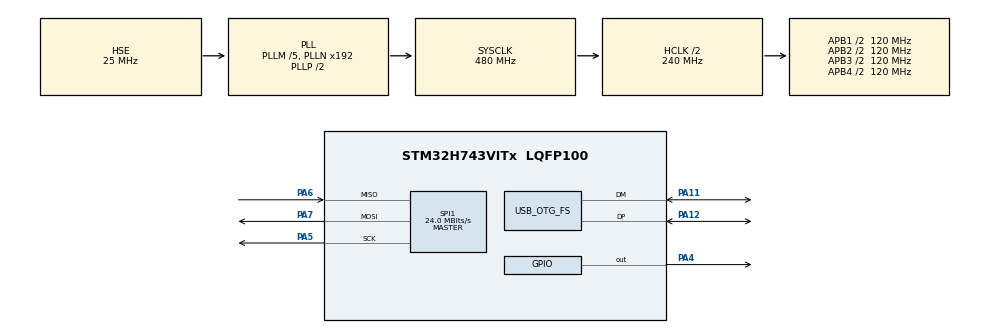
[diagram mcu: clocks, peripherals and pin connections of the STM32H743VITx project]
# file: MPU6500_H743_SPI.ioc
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CORTEX_M7.default_mode_Activation=1
Mcu.Family=STM32H7
Mcu.Name=STM32H743VITx
Mcu.Package=LQFP100
NVIC.OTG_FS_IRQn=true\:0\:0\:false\:false\:true\:false\:true\:true
NVIC.PriorityGroup=NVIC_PRIORITYGROUP_4
PA11.Mode=Device_Only
PA11.Signal=USB_OTG_FS_DM
PA12.Mode=Device_Only
PA12.Signal=USB_OTG_FS_DP
PA13\ (JTMS/SWDIO).Mode=Serial_Wire
PA13\ (JTMS/SWDIO).Signal=DEBUG_JTMS-SWDIO
PA14\ (JTCK/SWCLK).Mode=Serial_Wire
PA14\ (JTCK/SWCLK).Signal=DEBUG_JTCK-SWCLK
PA4.PinState=GPIO_PIN_SET
PA4.Signal=GPIO_Output
PA5.Mode=Full_Duplex_Master
PA5.Signal=SPI1_SCK
PA6.Mode=Full_Duplex_Master
PA6.Signal=SPI1_MISO
PA7.Mode=Full_Duplex_Master
PA7.Signal=SPI1_MOSI
PH0-OSC_IN\ (PH0).Mode=HSE-External-Oscillator
PH0-OSC_IN\ (PH0).Signal=RCC_OSC_IN
PH1-OSC_OUT\ (PH1).Mode=HSE-External-Oscillator
PH1-OSC_OUT\ (PH1).Signal=RCC_OSC_OUT
ProjectManager.HeapSize=0x2000
ProjectManager.StackSize=0x4000
ProjectManager.TargetToolchain=STM32CubeIDE
RCC.ADCFreq_Value=50390625
RCC.APB1Freq_Value=120000000
RCC.APB2Freq_Value=120000000
RCC.APB3Freq_Value=120000000
RCC.APB4Freq_Value=120000000
RCC.CortexFreq_Value=480000000
RCC.D1PPRE=RCC_APB3_DIV2
RCC.D2PPRE1=RCC_APB1_DIV2
RCC.D2PPRE2=RCC_APB2_DIV2
RCC.D3PPRE=RCC_APB4_DIV2
RCC.DIVM1=5
RCC.DIVM3=5
RCC.DIVN1=192
RCC.DIVN3=48
RCC.DIVQ1=20
RCC.DIVQ3=5
RCC.HCLKFreq_Value=240000000
RCC.HPRE=RCC_HCLK_DIV2
RCC.SYSCLKFreq_VALUE=480000000
RCC.SYSCLKSource=RCC_SYSCLKSOURCE_PLLCLK
RCC.USBFreq_Value=48000000
SPI1.BaudRatePrescaler=SPI_BAUDRATEPRESCALER_2
SPI1.CLKPhase=SPI_PHASE_2EDGE
SPI1.CLKPolarity=SPI_POLARITY_HIGH
SPI1.CalculateBaudRate=24.0 MBits/s
SPI1.DataSize=SPI_DATASIZE_8BIT
SPI1.Direction=SPI_DIRECTION_2LINES
SPI1.Mode=SPI_MODE_MASTER
SPI1.VirtualType=VM_MASTER
USB_DEVICE.CLASS_NAME_FS=CDC
USB_DEVICE.VirtualMode-CDC_FS=Cdc
USB_DEVICE.VirtualModeFS=Cdc_FS
USB_OTG_FS.VirtualMode=Device_Only
VP_MEMORYMAP_VS_MEMORYMAP.Mode=CurAppReg
VP_USB_DEVICE_VS_USB_DEVICE_CDC_FS.Mode=CDC_FS
board=custom

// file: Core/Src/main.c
/* USER CODE BEGIN Header */
/**
  ******************************************************************************
  * @file           : main.c
  * @brief          : Main program body
  ******************************************************************************
  * @attention
  *
  * Copyright (c) 2026 STMicroelectronics.
  * All rights reserved.
  *
  * This software is licensed under terms that can be found in the LICENSE file
  * in the root directory of this software component.
  * If no LICENSE file comes with this software, it is provided AS-IS.
  *
  ******************************************************************************
  */
/* USER CODE END Header */
#include "main.h"
#include "spi.h"
#include "usb_device.h"
#include "gpio.h"

/* USER CODE BEGIN Includes */
#include "usbd_cdc_if.h"
#include <stdio.h>
#include <string.h>
#include <math.h>

/* USER CODE END Includes */

/* USER CODE BEGIN PV */
uint8_t Rec_Data[14];
int16_t Accel_X_Raw, Accel_Y_Raw, Accel_Z_Raw;
int16_t Gyro_X_Raw, Gyro_Y_Raw, Gyro_Z_Raw;
float Ax, Ay, Az, Gx, Gy, Gz;
char usb_msg[128];
float Pitch = 0.0f;
float Roll = 0.0f;
float Yaw = 0.0f;
//chon chan CS
#define CS_PORT GPIOA
#define CS_PIN GPIO_PIN_4
#define DT 0.02f
#define ALPHA 0.98f
#define RAD_TO_DEG 57.2957795f

/* USER CODE END PV */

void SystemClock_Config(void);
static void MPU_Config(void);

/* USER CODE BEGIN 0 */

//ham doc 1 thanh ghi qua SPI
uint8_t SPI_Read(uint8_t RegAddr){
	uint8_t rx_data = 0;
	uint8_t tx_data = RegAddr | 0x80; // Bit 0x80 báo hiệu là lệnh ĐỌC (Read)

	//keo CS xuong thap de bat dau
	HAL_GPIO_WritePin(CS_PORT, CS_PIN, GPIO_PIN_RESET);

	//gui dia chi can doc
	HAL_SPI_Transmit(&hspi1, &tx_data, 1, 100);

	//Nhan du lieu ve
	HAL_SPI_Receive(&hspi1, &rx_data, 1, 100);

	//Keo CS len cao de ket thuc
	HAL_GPIO_WritePin(CS_PORT, CS_PIN, GPIO_PIN_SET);

	return rx_data;
}

//Ham ghi vaof 1 thanh ghi qua SPI
void SPI_Write(uint8_t RegAddr, uint8_t Value){
	uint8_t data[2];
	data[0] = RegAddr; // bie dau la 0 bao hieu la GHI
	data[1] = Value;

	HAL_GPIO_WritePin(CS_PORT, CS_PIN, GPIO_PIN_RESET);
	HAL_SPI_Transmit(&hspi1, data, 2, 100);
	HAL_GPIO_WritePin(CS_PORT, CS_PIN, GPIO_PIN_SET);
}

//Ham doc nhieu bytes lien tiep - De doc Accel/Gyro
void SPI_Read_Burst(uint8_t RegAddr, uint8_t *pData, uint16_t Size){
	uint8_t tx_data = RegAddr | 0x80;

	HAL_GPIO_WritePin(CS_PORT, CS_PIN, GPIO_PIN_RESET);
	HAL_SPI_Transmit(&hspi1, &tx_data, 1, 100);
	HAL_SPI_Receive(&hspi1, pData, Size, 100);
	HAL_GPIO_WritePin(CS_PORT, CS_PIN, GPIO_PIN_SET);
}
void MPU_Complementary_Filter(void){
	float Accel_Pitch = atan2(-Ax, sqrt(Ay*Ay + Az*Az)) * RAD_TO_DEG;
	float Accel_Roll  = atan2(-Ay, Az) * RAD_TO_DEG;

	Pitch = ALPHA * (Pitch + Gy * DT) + (1.0f - ALPHA) * Accel_Pitch;
	Roll  = ALPHA * (Roll  - Gx * DT) + (1.0f - ALPHA) * Accel_Roll;

	Yaw = Yaw + Gz * DT;
}
/* USER CODE END 0 */

int main(void)
{

  /* USER CODE BEGIN 1 */

//	HAL_Delay(1000);

  /* USER CODE END 1 */

  /* MPU Configuration--------------------------------------------------------*/
//  MPU_Config();

  /* MCU Configuration--------------------------------------------------------*/

  /* Reset of all peripherals, Initializes the Flash interface and the Systick. */
  HAL_Init();

  /* Configure the system clock */
  SystemClock_Config();

  /* USER CODE BEGIN SysInit */
//  SCB_DisableDCache();
    SCB_DisableICache();
//    HAL_Delay(1000);
  /* USER CODE END SysInit */

  /* Initialize all configured peripherals */
  MX_GPIO_Init();
  MX_SPI1_Init();
  MX_USB_DEVICE_Init();
  /* USER CODE BEGIN 2 */

  // 1. Reset device
  SPI_Write(0x6B, 0x80);
  HAL_Delay(100);

  // 2. Disable I2C interface (Quan trọng khi dùng SPI)
  // Thanh ghi USER_CTRL (0x6A), bit 4 = 1 (I2C_IF_DIS)
  SPI_Write(0x6A, 0x10);

  // 3. Đánh thức (Wake up) - Clock Source = PLL Gyro Z
  SPI_Write(0x6B, 0x03);

  // 4. Cấu hình Gyro Range (Ví dụ +/- 500dps)
  SPI_Write(0x1B, 0x08);

  // 5. Cấu hình Accel Range (Ví dụ +/- 8G)
  SPI_Write(0x1C, 0x10);

  //Kiem tra chip (WHO_AM_I - 0x75)
  uint8_t who_am_i = SPI_Read(0x75);
  if(who_am_i == 0x70 || who_am_i == 0x71 || who_am_i == 0x73){
	  CDC_Transmit_FS((uint8_t*)"SPI OK! MOU Found!\n", 19);
  } else {
	  CDC_Transmit_FS((uint8_t*)"SPI Fail! Check wiring.!\n", 24);
  }

  /* USER CODE END 2 */

  /* Infinite loop */
  while (1)
  {

    /* USER CODE BEGIN 3 */
	SPI_Read_Burst(0x3B, Rec_Data, 14);

	// Ghép dữ liệu (Bit cao << 8 | Bit thấp)
	Accel_X_Raw = (int16_t)(Rec_Data[0] << 8 | Rec_Data[1]);
	Accel_Y_Raw = (int16_t)(Rec_Data[2] << 8 | Rec_Data[3]);
	Accel_Z_Raw = (int16_t)(Rec_Data[4] << 8 | Rec_Data[5]);

	Gyro_X_Raw = (int16_t)(Rec_Data[8] << 8 | Rec_Data[9]);
	Gyro_Y_Raw = (int16_t)(Rec_Data[10] << 8 | Rec_Data[11]);
	Gyro_Z_Raw = (int16_t)(Rec_Data[12] << 8 | Rec_Data[13]);

	// Chuyển đổi đơn vị (Tùy cấu hình Range ở trên)
	// Với +/- 8G thì chia 4096.0
	Ax = Accel_X_Raw / 4096.0;
	Ay = Accel_Y_Raw / 4096.0;
	Az = Accel_Z_Raw / 4096.0;

	// Với +/- 500dps thì chia 65.5
	Gx = Gyro_X_Raw / 65.5;
	Gy = Gyro_Y_Raw / 65.5;
	Gz = Gyro_Z_Raw / 65.5;

	MPU_Complementary_Filter();

	// Gửi lên máy tính
	sprintf(usb_msg, "%.2f,%.2f,%.2f\r\n", Pitch, Roll, Yaw);

	CDC_Transmit_FS((uint8_t*)usb_msg, strlen(usb_msg));

	HAL_Delay(20);

  }
  /* USER CODE END 3 */
}

void SystemClock_Config(void)
{
  RCC_OscInitTypeDef RCC_OscInitStruct = {0};
  RCC_ClkInitTypeDef RCC_ClkInitStruct = {0};

  /** Supply configuration update enable
  */
  HAL_PWREx_ConfigSupply(PWR_LDO_SUPPLY);

  /** Configure the main internal regulator output voltage
  */
  __HAL_PWR_VOLTAGESCALING_CONFIG(PWR_REGULATOR_VOLTAGE_SCALE0);

  while(!__HAL_PWR_GET_FLAG(PWR_FLAG_VOSRDY)) {}

  /** Initializes the RCC Oscillators according to the specified parameters
  * in the RCC_OscInitTypeDef structure.
  */
  RCC_OscInitStruct.OscillatorType = RCC_OSCILLATORTYPE_HSE;
  RCC_OscInitStruct.HSEState = RCC_HSE_ON;
  RCC_OscInitStruct.PLL.PLLState = RCC_PLL_ON;
  RCC_OscInitStruct.PLL.PLLSource = RCC_PLLSOURCE_HSE;
  RCC_OscInitStruct.PLL.PLLM = 5;
  RCC_OscInitStruct.PLL.PLLN = 192;
  RCC_OscInitStruct.PLL.PLLP = 2;
  RCC_OscInitStruct.PLL.PLLQ = 20;
  RCC_OscInitStruct.PLL.PLLR = 2;
  RCC_OscInitStruct.PLL.PLLRGE = RCC_PLL1VCIRANGE_2;
  RCC_OscInitStruct.PLL.PLLVCOSEL = RCC_PLL1VCOWIDE;
  RCC_OscInitStruct.PLL.PLLFRACN = 0;
  if (HAL_RCC_OscConfig(&RCC_OscInitStruct) != HAL_OK)
  {
    Error_Handler();
  }

  /** Initializes the CPU, AHB and APB buses clocks
  */
  RCC_ClkInitStruct.ClockType = RCC_CLOCKTYPE_HCLK|RCC_CLOCKTYPE_SYSCLK
                              |RCC_CLOCKTYPE_PCLK1|RCC_CLOCKTYPE_PCLK2
                              |RCC_CLOCKTYPE_D3PCLK1|RCC_CLOCKTYPE_D1PCLK1;
  RCC_ClkInitStruct.SYSCLKSource = RCC_SYSCLKSOURCE_PLLCLK;
  RCC_ClkInitStruct.SYSCLKDivider = RCC_SYSCLK_DIV1;
  RCC_ClkInitStruct.AHBCLKDivider = RCC_HCLK_DIV2;
  RCC_ClkInitStruct.APB3CLKDivider = RCC_APB3_DIV2;
  RCC_ClkInitStruct.APB1CLKDivider = RCC_APB1_DIV2;
  RCC_ClkInitStruct.APB2CLKDivider = RCC_APB2_DIV2;
  RCC_ClkInitStruct.APB4CLKDivider = RCC_APB4_DIV2;

  if (HAL_RCC_ClockConfig(&RCC_ClkInitStruct, FLASH_LATENCY_4) != HAL_OK)
  {
    Error_Handler();
  }
}

 /* MPU Configuration */

void MPU_Config(void)
{
  MPU_Region_InitTypeDef MPU_InitStruct = {0};

  /* Disables the MPU */
  HAL_MPU_Disable();

  /** Initializes and configures the Region and the memory to be protected
  */
  MPU_InitStruct.Enable = MPU_REGION_ENABLE;
  MPU_InitStruct.Number = MPU_REGION_NUMBER0;
  MPU_InitStruct.BaseAddress = 0x0;
  MPU_InitStruct.Size = MPU_REGION_SIZE_4GB;
  MPU_InitStruct.SubRegionDisable = 0x87;
  MPU_InitStruct.TypeExtField = MPU_TEX_LEVEL0;
  MPU_InitStruct.AccessPermission = MPU_REGION_NO_ACCESS;
  MPU_InitStruct.DisableExec = MPU_INSTRUCTION_ACCESS_DISABLE;
  MPU_InitStruct.IsShareable = MPU_ACCESS_SHAREABLE;
  MPU_InitStruct.IsCacheable = MPU_ACCESS_NOT_CACHEABLE;
  MPU_InitStruct.IsBufferable = MPU_ACCESS_NOT_BUFFERABLE;

  HAL_MPU_ConfigRegion(&MPU_InitStruct);
  /* Enables the MPU */
  HAL_MPU_Enable(MPU_PRIVILEGED_DEFAULT);

}

void Error_Handler(void)
{
  __disable_irq();
  while (1)
  {
  }
}
